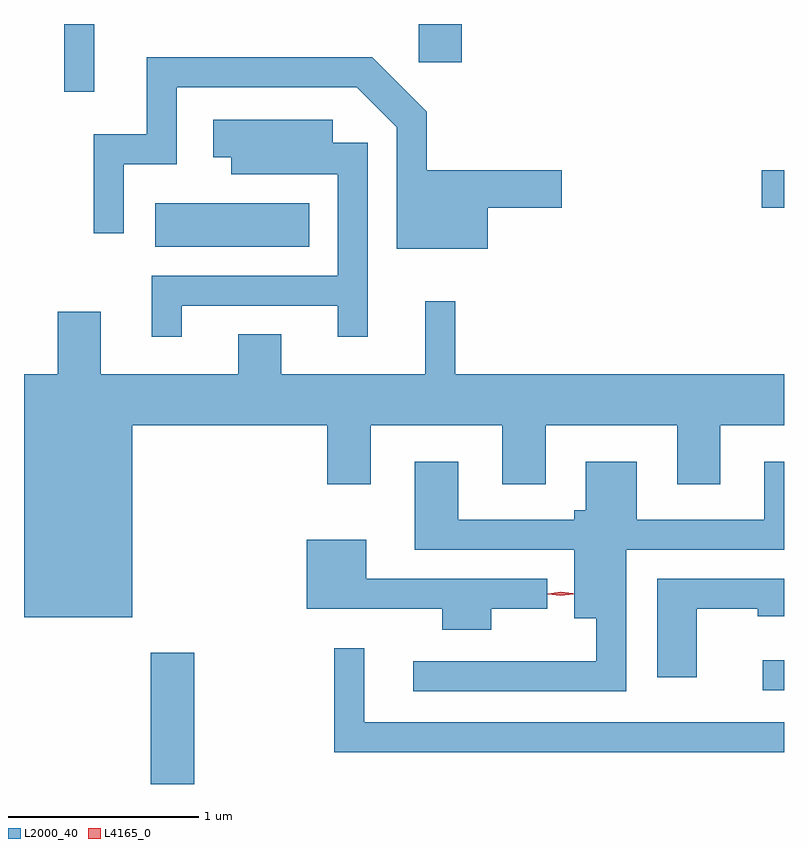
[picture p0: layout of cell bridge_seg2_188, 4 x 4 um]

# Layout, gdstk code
import gdstk
lib = gdstk.Library(unit=1e-6, precision=1e-09)
def R(c, l, rs):  # rectangles x0, y0, x1, y1
    for r in rs: c.add(gdstk.rectangle(r[:2], r[2:], *l))
def P(c, l, *ps):  # polygons
    for p in ps: c.add(gdstk.Polygon(p, *l))
L2000_40 = (2000, 40)
L4165_0 = (4165, 0)

bridge_seg2_188 = lib.new_cell('bridge_seg2_188')
R(bridge_seg2_188, L2000_40, [(796.111,1022.008,796.339,1022.699), (799.333,1022.501,799.444,1022.659), (796.136,1024.836,796.944,1025.064), (799.326,1025.041,799.444,1025.239), (795.656,1025.652,795.814,1026.008), (797.521,1025.806,797.749,1026.008)])
P(bridge_seg2_188, L2000_40, [(797.884,1025.041),(798.274,1025.041),(798.274,1025.239),(797.564,1025.239),(797.564,1025.546),(797.277,1025.834),(796.091,1025.834),(796.091,1025.429),(795.811,1025.429),(795.811,1024.908),(795.969,1024.908),(795.969,1025.271),(796.249,1025.271),(796.249,1025.676),(797.194,1025.676),(797.406,1025.464),(797.406,1024.826),(797.884,1024.826)],
  [(796.274,1024.526),(797.096,1024.526),(797.096,1024.363),(797.254,1024.363),(797.254,1025.384),(797.069,1025.384),(797.069,1025.504),(796.441,1025.504),(796.441,1025.306),(796.536,1025.306),(796.536,1025.216),(797.096,1025.216),(797.096,1024.684),(796.116,1024.684),(796.116,1024.363),(796.274,1024.363)],
  [(796.014,1023.896),(797.041,1023.896),(797.041,1023.586),(797.269,1023.586),(797.269,1023.896),(797.961,1023.896),(797.961,1023.586),(798.189,1023.586),(798.189,1023.896),(798.881,1023.896),(798.881,1023.586),(799.109,1023.586),(799.109,1023.896),(799.444,1023.896),(799.444,1024.164),(797.714,1024.164),(797.714,1024.548),(797.556,1024.548),(797.556,1024.164),(796.799,1024.164),(796.799,1024.374),(796.571,1024.374),(796.571,1024.164),(795.849,1024.164),(795.849,1024.494),(795.621,1024.494),(795.621,1024.164),(795.444,1024.164),(795.444,1022.886),(796.014,1022.886)],
  [(798.614,1023.241),(799.444,1023.241),(799.444,1023.704),(799.341,1023.704),(799.341,1023.399),(798.669,1023.399),(798.669,1023.704),(798.401,1023.704),(798.401,1023.449),(798.341,1023.449),(798.341,1023.399),(797.729,1023.399),(797.729,1023.704),(797.501,1023.704),(797.501,1023.241),(798.341,1023.241),(798.341,1022.881),(798.456,1022.881),(798.456,1022.654),(797.493,1022.654),(797.493,1022.496),(798.614,1022.496)],
  [(797.904,1022.931),(798.198,1022.931),(798.198,1023.089),(797.244,1023.089),(797.244,1023.294),(796.931,1023.294),(796.931,1022.931),(797.646,1022.931),(797.646,1022.821),(797.904,1022.821)],
  [(798.984,1022.931),(799.306,1022.931),(799.306,1022.891),(799.444,1022.891),(799.444,1023.089),(798.776,1023.089),(798.776,1022.571),(798.984,1022.571)],
  [(799.444,1022.334),(797.234,1022.334),(797.234,1022.723),(797.076,1022.723),(797.076,1022.176),(799.444,1022.176)])
P(bridge_seg2_188, L4165_0, [(798.268,1023.001),(798.203,1023.009),(798.203,1023.01),(798.203,1023.01),(798.268,1023.021),(798.332,1023.012),(798.333,1023.012),(798.332,1023.011)],
  [(798.268,1022.999),(798.2,1023.008),(798.2,1023.009),(798.2,1023.009),(798.268,1023.019),(798.336,1023.009),(798.337,1023.009),(798.336,1023.008)])

lib.write_gds('bridge_seg2_188.gds')
